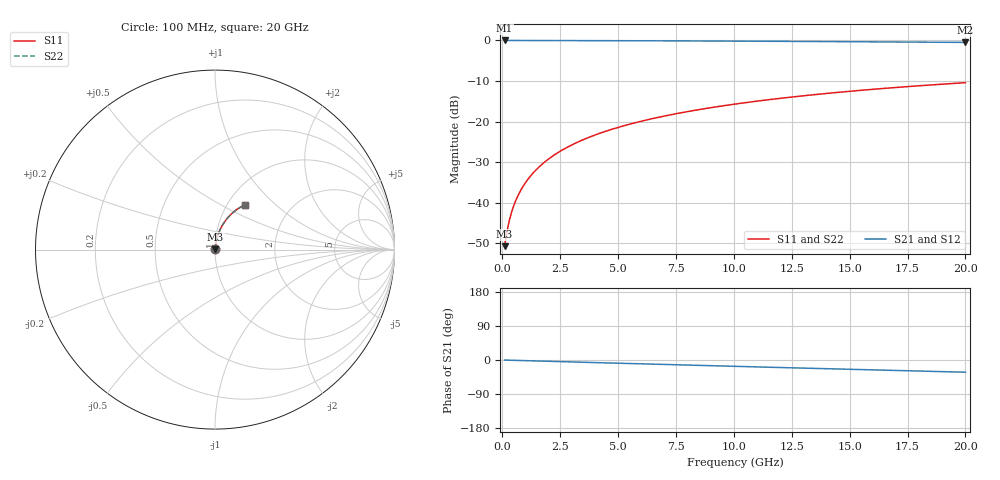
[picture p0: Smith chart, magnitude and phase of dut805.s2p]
! Touchstone file exported from HFSS 2026.1.0
!  File:  C:/ffzhzh/LocalFiles/Ansys_Project_Files/temp_train_TMRDL_805_1783156177_55132.aedt
!  Generated:  05:10:50 PM Jul  4, 2026
!  Design:  TMRDL
!  Project:  temp_train_TMRDL_805_1783156177_55132
! Variables:
!  h_bsmrdl = 2um
!  h_ox = 20um
!  h_rdl = 5um
!  h_sub = 80um
!  h_tmrdl = 4.05um
!  h_tsv = 80um
!  h_via = 3um
!  l_bsmrdl = 300um
!  l_sub = 858.31um
!  l_tmrdl = 458.31um
!  m_sub = 200um
!  pitch = 43.22um
!  r_tsv = 6um
!  s_tmrdl = 10um
!  w_bsmrdl = 18um
!  w_sub = 500um
!  w_tmrdl = 19.3um
!  x_tsv_center1 = 467.96um
!  x_tsv_center2 = 785.96um
!  x_tsv_center3 = 1263.57um
!  x_tsv_center4 = 1581.57um
!  x_tsv_center5 = 2059.18um
!  x_tsv_center6 = 2377.18um
# GHz S MA R 50.000000
! Terminal data exported
! Port[1] = TM_RDL1_1_T1
! Port[2] = TM_RDL1_1_T2
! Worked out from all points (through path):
!   200 points, 100 MHz to 20 GHz, reference 50 ohm
!   highest |S21| = -0.02 dB at 100 MHz (marker M1); lowest = -0.5 dB at 20 GHz (marker M2)
!   group delay of S21, straight-line fit = 4.47 ps
!   lowest |S11| = -50.7 dB at 100 MHz (marker M3), VSWR 1.01, Z = 50.2 + j0.188 ohm
!   |S11| at or under -10 dB: start of sweep to end of sweep
!   |S22| runs from -50.7 to -10.4 dB; largest |S21 - S12| = 3e-15
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0.1  0.002927 39.9  0.9978 -0.2  0.9978 -0.2  0.002927 39.9
! Gamma 0 0 0 0
! Port Impedance 50 0 50 0
0.2  0.004389 57.4  0.9976 -0.4  0.9976 -0.4  0.004389 57.4
0.3  0.006006 65.4  0.9975 -0.5  0.9975 -0.5  0.006006 65.4
0.4  0.007651 69.9  0.9974 -0.7  0.9974 -0.7  0.00765 69.9
0.5  0.009305 72.8  0.9974 -0.9  0.9974 -0.9  0.009304 72.8
0.6  0.01097 74.8  0.9973 -1.0  0.9973 -1.0  0.01097 74.8
0.8  0.01431 77.5  0.9972 -1.4  0.9972 -1.4  0.01431 77.5
1.1  0.01938 79.6  0.997 -1.9  0.997 -1.9  0.01937 79.6
1.5  0.02617 80.9  0.9967 -2.6  0.9967 -2.6  0.02617 80.9
1.8  0.03127 81.3  0.9965 -3.1  0.9965 -3.1  0.03127 81.3
2.1  0.03637 81.4  0.9962 -3.6  0.9962 -3.6  0.03637 81.4
2.7  0.04653 81.2  0.9955 -4.6  0.9955 -4.6  0.04653 81.2
3.5  0.05999 80.4  0.9944 -6.0  0.9944 -6.0  0.05999 80.4
4.2  0.07165 79.5  0.9933 -7.1  0.9933 -7.1  0.07165 79.5
5  0.08483 78.4  0.9918 -8.5  0.9918 -8.5  0.08483 78.4
5.9  0.09946 77.1  0.99 -10.0  0.99 -10.0  0.09946 77.1
6.8  0.1139 75.8  0.988 -11.4  0.988 -11.4  0.1139 75.8
8.3  0.1375 73.5  0.9843 -13.9  0.9843 -13.9  0.1375 73.5
10.1  0.1651 70.8  0.9793 -16.8  0.9793 -16.8  0.1651 70.8
13.4  0.2136 65.8  0.9689 -22.1  0.9689 -22.1  0.2136 65.8
16.7  0.2592 60.9  0.9571 -27.2  0.9571 -27.2  0.2592 60.9
20  0.3014 56.0  0.9441 -32.2  0.9441 -32.2  0.3014 56.1
